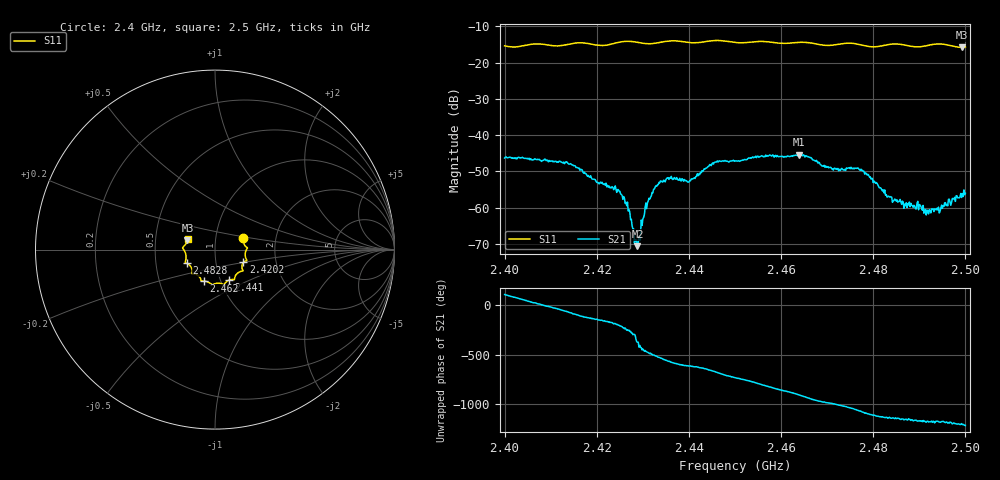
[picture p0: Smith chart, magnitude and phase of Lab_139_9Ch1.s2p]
# Hz S RI R 50
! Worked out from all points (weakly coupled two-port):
!   601 points, 2.4 GHz to 2.5 GHz, reference 50 ohm
!   highest |S21| = -45.39 dB at 2.4638 GHz (marker M1); lowest = -70.6 dB at 2.4288 GHz (marker M2)
!   lowest |S11| = -15.8 dB at 2.4993 GHz (marker M3), VSWR 1.39, Z = 36.5 + j3.85 ohm
!   |S11| at or under -10 dB: start of sweep to end of sweep
!   S12 and S22 are empty: the file has one direction only
!   S11 on the Smith chart (normalised r, x): 2.4 GHz: 1.36, +0.17; 2.4202 GHz: 1.36, -0.20; 2.441 GHz: 1.10, -0.39; 2.462 GHz: 0.84, -0.30; 2.4828 GHz: 0.72, -0.11; 2.5 GHz: 0.73, +0.09
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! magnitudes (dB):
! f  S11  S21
! 2.4 GHz  -15.4  -46.3
! 2.4167 GHz  -14.5  -49.5
! 2.4202 GHz  -15.2  -53.0
! 2.425 GHz  -14.3  -55.4
! 2.4267 GHz  -14.1  -58.4
! 2.4283 GHz  -14.3  -69.1
! 2.4288 GHz  -14.4  -70.6
! 2.431 GHz  -14.8  -58.6
! 2.4333 GHz  -14.5  -53.6
! 2.441 GHz  -14.6  -51.9
! 2.4457 GHz  -13.9  -47.4
! 2.45 GHz  -14.4  -47.0
! 2.462 GHz  -14.6  -45.8
! 2.4638 GHz  -14.4  -45.4
! 2.4667 GHz  -14.6  -46.4
! 2.4708 GHz  -15.2  -48.9
! 2.4772 GHz  -15.1  -49.7
! 2.4828 GHz  -15.1  -56.4
! 2.4833 GHz  -15.0  -56.8
! 2.492 GHz  -15.2  -61.7
! 2.4993 GHz  -15.8  -56.1
! 2.5 GHz  -15.7  -56.0
